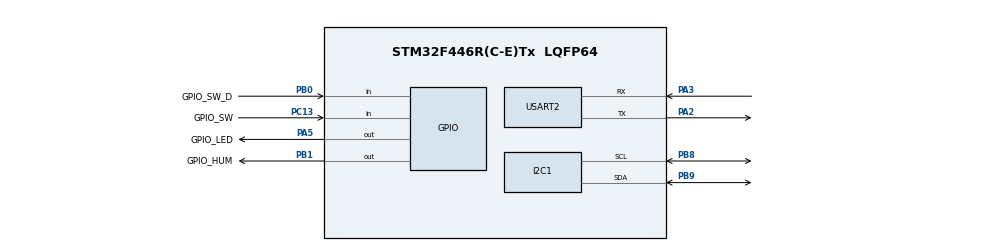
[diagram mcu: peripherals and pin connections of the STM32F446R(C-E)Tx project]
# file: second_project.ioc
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FREERTOS.Mutexes01=i2cMutex,Dynamic,NULL,Available
FREERTOS.Queues01=xQueueRH,1,uint32_t,0,Dynamic,NULL,NULL
FREERTOS.Tasks01=SensorUI,24,768,SensorUiTask,Default,NULL,Dynamic,NULL,NULL;Control,8,512,ControlTask,Default,NULL,Dynamic,NULL,NULL;Input,25,384,InputTask,Default,NULL,Dynamic,NULL,NULL
I2C1.I2C_Mode=I2C_Fast
Mcu.Family=STM32F4
Mcu.Name=STM32F446R(C-E)Tx
Mcu.Package=LQFP64
NVIC.PriorityGroup=NVIC_PRIORITYGROUP_4
NVIC.TIM1_UP_TIM10_IRQn=true\:15\:0\:false\:false\:true\:false\:false\:true\:true
NVIC.TimeBase=TIM1_UP_TIM10_IRQn
NVIC.TimeBaseIP=TIM1
PA13.Mode=Trace_Asynchronous_SW
PA13.Signal=SYS_JTMS-SWDIO
PA14.Mode=Trace_Asynchronous_SW
PA14.Signal=SYS_JTCK-SWCLK
PA2.Mode=Asynchronous
PA2.Signal=USART2_TX
PA3.Mode=Asynchronous
PA3.Signal=USART2_RX
PA5.GPIO_Label=GPIO_LED
PA5.Signal=GPIO_Output
PB0.GPIO_Label=GPIO_SW_D
PB0.GPIO_PuPd=GPIO_PULLUP
PB0.Signal=GPIO_Input
PB1.GPIO_Label=GPIO_HUM
PB1.Signal=GPIO_Output
PB3.Mode=Trace_Asynchronous_SW
PB3.Signal=SYS_JTDO-SWO
PB8.Mode=I2C
PB8.Signal=I2C1_SCL
PB9.Mode=I2C
PB9.Signal=I2C1_SDA
PC13.GPIO_Label=GPIO_SW
PC13.GPIO_PuPd=GPIO_PULLUP
PC13.Signal=GPIO_Input
ProjectManager.HeapSize=0x200
ProjectManager.StackSize=0x400
ProjectManager.TargetToolchain=STM32CubeIDE
RCC.CortexFreq_Value=16000000
RCC.USBFreq_Value=96000000
RCC.VCOOutputFreq_Value=192000000
USART2.VirtualMode=VM_ASYNC
VP_FREERTOS_VS_CMSIS_V2.Mode=CMSIS_V2
VP_SYS_VS_tim1.Mode=TIM1
board=custom

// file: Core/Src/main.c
/* USER CODE BEGIN Header */
/**
  ******************************************************************************
  * @file           : main.c
  * @brief          : Main program body
  ******************************************************************************
  * @attention
  *
  * Copyright (c) 2025 STMicroelectronics.
  * All rights reserved.
  *
  * This software is licensed under terms that can be found in the LICENSE file
  * in the root directory of this software component.
  * If no LICENSE file comes with this software, it is provided AS-IS.
  *
  ******************************************************************************
  */
/* USER CODE END Header */
#include "main.h"
#include "cmsis_os.h"

/* USER CODE BEGIN Includes */
#include "ssd1306.h"
#include "sht31d.h"
#include "fonts.h"
#include "stdio.h"
#include "bitmap.h"
#include "horse_anim.h"
/* USER CODE END Includes */

I2C_HandleTypeDef hi2c1;

UART_HandleTypeDef huart2;

/* Definitions for SensorUI */
osThreadId_t SensorUIHandle;
const osThreadAttr_t SensorUI_attributes = {
  .name = "SensorUI",
  .stack_size = 768 * 4,
  .priority = (osPriority_t) osPriorityNormal,
};
/* Definitions for Control */
osThreadId_t ControlHandle;
const osThreadAttr_t Control_attributes = {
  .name = "Control",
  .stack_size = 512 * 4,
  .priority = (osPriority_t) osPriorityLow,
};
/* Definitions for Input */
osThreadId_t InputHandle;
const osThreadAttr_t Input_attributes = {
  .name = "Input",
  .stack_size = 384 * 4,
  .priority = (osPriority_t) osPriorityNormal1,
};
/* Definitions for xQueueRH */
osMessageQueueId_t xQueueRHHandle;
const osMessageQueueAttr_t xQueueRH_attributes = {
  .name = "xQueueRH"
};
/* Definitions for i2cMutex */
osMutexId_t i2cMutexHandle;
const osMutexAttr_t i2cMutex_attributes = {
  .name = "i2cMutex"
};
/* USER CODE BEGIN PV */
int _write(int file, char *p, int len){
	HAL_UART_Transmit(&huart2, (uint8_t *)p, len, 10);
	return len;
}
/* USER CODE END PV */

void SystemClock_Config(void);
static void MX_GPIO_Init(void);
static void MX_USART2_UART_Init(void);
static void MX_I2C1_Init(void);
void SensorUiTask(void *argument);
void ControlTask(void *argument);
void InputTask(void *argument);

/* USER CODE BEGIN PFP */
// ------------ RTOS handles ---------------------
typedef struct { float temp; float hum; } rh_sample_t;

// ------------ Globals ---------------------
static volatile int   g_set_hum = 65;
static volatile int   g_hum_on  = 0;
static volatile float   last_hum = -1000.0f;
static const    float   g_hyst    = 3.0f;         // ±3%

/* USER CODE END PFP */

int main(void)
{

  /* MCU Configuration--------------------------------------------------------*/

  /* Reset of all peripherals, Initializes the Flash interface and the Systick. */
  HAL_Init();

  /* Configure the system clock */
  SystemClock_Config();

  /* Initialize all configured peripherals */
  MX_GPIO_Init();
  MX_USART2_UART_Init();
  MX_I2C1_Init();
  /* USER CODE BEGIN 2 */
  SSD1306_Init();
  /* USER CODE END 2 */

  /* Init scheduler */
  osKernelInitialize();
  /* Create the mutex(es) */
  /* creation of i2cMutex */
  i2cMutexHandle = osMutexNew(&i2cMutex_attributes);

  /* Create the queue(s) */
  /* creation of xQueueRH */
  xQueueRHHandle = osMessageQueueNew (2, sizeof(rh_sample_t), &xQueueRH_attributes);

  /* Create the thread(s) */
  /* creation of SensorUI */
  SensorUIHandle = osThreadNew(SensorUiTask, NULL, &SensorUI_attributes);

  /* creation of Control */
  ControlHandle = osThreadNew(ControlTask, NULL, &Control_attributes);

  /* creation of Input */
  InputHandle = osThreadNew(InputTask, NULL, &Input_attributes);

  /* Start scheduler */
  osKernelStart();

  /* We should never get here as control is now taken by the scheduler */

  /* Infinite loop */
  while (1)
  {

  }
}

void SystemClock_Config(void)
{
  RCC_OscInitTypeDef RCC_OscInitStruct = {0};
  RCC_ClkInitTypeDef RCC_ClkInitStruct = {0};

  /** Configure the main internal regulator output voltage
  */
  __HAL_RCC_PWR_CLK_ENABLE();
  __HAL_PWR_VOLTAGESCALING_CONFIG(PWR_REGULATOR_VOLTAGE_SCALE3);

  /** Initializes the RCC Oscillators according to the specified parameters
  * in the RCC_OscInitTypeDef structure.
  */
  RCC_OscInitStruct.OscillatorType = RCC_OSCILLATORTYPE_HSI;
  RCC_OscInitStruct.HSIState = RCC_HSI_ON;
  RCC_OscInitStruct.HSICalibrationValue = RCC_HSICALIBRATION_DEFAULT;
  RCC_OscInitStruct.PLL.PLLState = RCC_PLL_NONE;
  if (HAL_RCC_OscConfig(&RCC_OscInitStruct) != HAL_OK)
  {
    Error_Handler();
  }

  /** Initializes the CPU, AHB and APB buses clocks
  */
  RCC_ClkInitStruct.ClockType = RCC_CLOCKTYPE_HCLK|RCC_CLOCKTYPE_SYSCLK
                              |RCC_CLOCKTYPE_PCLK1|RCC_CLOCKTYPE_PCLK2;
  RCC_ClkInitStruct.SYSCLKSource = RCC_SYSCLKSOURCE_HSI;
  RCC_ClkInitStruct.AHBCLKDivider = RCC_SYSCLK_DIV1;
  RCC_ClkInitStruct.APB1CLKDivider = RCC_HCLK_DIV1;
  RCC_ClkInitStruct.APB2CLKDivider = RCC_HCLK_DIV1;

  if (HAL_RCC_ClockConfig(&RCC_ClkInitStruct, FLASH_LATENCY_0) != HAL_OK)
  {
    Error_Handler();
  }
}

static void MX_I2C1_Init(void)
{

  hi2c1.Instance = I2C1;
  hi2c1.Init.ClockSpeed = 400000;
  hi2c1.Init.DutyCycle = I2C_DUTYCYCLE_2;
  hi2c1.Init.OwnAddress1 = 0;
  hi2c1.Init.AddressingMode = I2C_ADDRESSINGMODE_7BIT;
  hi2c1.Init.DualAddressMode = I2C_DUALADDRESS_DISABLE;
  hi2c1.Init.OwnAddress2 = 0;
  hi2c1.Init.GeneralCallMode = I2C_GENERALCALL_DISABLE;
  hi2c1.Init.NoStretchMode = I2C_NOSTRETCH_DISABLE;
  if (HAL_I2C_Init(&hi2c1) != HAL_OK)
  {
    Error_Handler();
  }

}

static void MX_USART2_UART_Init(void)
{

  huart2.Instance = USART2;
  huart2.Init.BaudRate = 115200;
  huart2.Init.WordLength = UART_WORDLENGTH_8B;
  huart2.Init.StopBits = UART_STOPBITS_1;
  huart2.Init.Parity = UART_PARITY_NONE;
  huart2.Init.Mode = UART_MODE_TX_RX;
  huart2.Init.HwFlowCtl = UART_HWCONTROL_NONE;
  huart2.Init.OverSampling = UART_OVERSAMPLING_16;
  if (HAL_UART_Init(&huart2) != HAL_OK)
  {
    Error_Handler();
  }

}

static void MX_GPIO_Init(void)
{
  GPIO_InitTypeDef GPIO_InitStruct = {0};

  /* GPIO Ports Clock Enable */
  __HAL_RCC_GPIOC_CLK_ENABLE();
  __HAL_RCC_GPIOA_CLK_ENABLE();
  __HAL_RCC_GPIOB_CLK_ENABLE();

  /*Configure GPIO pin Output Level */
  HAL_GPIO_WritePin(GPIO_LED_GPIO_Port, GPIO_LED_Pin, GPIO_PIN_RESET);

  /*Configure GPIO pin Output Level */
  HAL_GPIO_WritePin(GPIO_HUM_GPIO_Port, GPIO_HUM_Pin, GPIO_PIN_RESET);

  /*Configure GPIO pin : GPIO_SW_Pin */
  GPIO_InitStruct.Pin = GPIO_SW_Pin;
  GPIO_InitStruct.Mode = GPIO_MODE_INPUT;
  GPIO_InitStruct.Pull = GPIO_PULLUP;
  HAL_GPIO_Init(GPIO_SW_GPIO_Port, &GPIO_InitStruct);

  /*Configure GPIO pin : GPIO_LED_Pin */
  GPIO_InitStruct.Pin = GPIO_LED_Pin;
  GPIO_InitStruct.Mode = GPIO_MODE_OUTPUT_PP;
  GPIO_InitStruct.Pull = GPIO_NOPULL;
  GPIO_InitStruct.Speed = GPIO_SPEED_FREQ_LOW;
  HAL_GPIO_Init(GPIO_LED_GPIO_Port, &GPIO_InitStruct);

  /*Configure GPIO pin : GPIO_SW_D_Pin */
  GPIO_InitStruct.Pin = GPIO_SW_D_Pin;
  GPIO_InitStruct.Mode = GPIO_MODE_INPUT;
  GPIO_InitStruct.Pull = GPIO_PULLUP;
  HAL_GPIO_Init(GPIO_SW_D_GPIO_Port, &GPIO_InitStruct);

  /*Configure GPIO pin : GPIO_HUM_Pin */
  GPIO_InitStruct.Pin = GPIO_HUM_Pin;
  GPIO_InitStruct.Mode = GPIO_MODE_OUTPUT_PP;
  GPIO_InitStruct.Pull = GPIO_NOPULL;
  GPIO_InitStruct.Speed = GPIO_SPEED_FREQ_LOW;
  HAL_GPIO_Init(GPIO_HUM_GPIO_Port, &GPIO_InitStruct);

}

void SensorUiTask(void *argument)
{
  /* USER CODE BEGIN 5 */
	char line[24];
	rh_sample_t sample;
  /* Infinite loop */
  for(;;)
  {
	  if(osMutexAcquire(i2cMutexHandle, osWaitForever) == osOK) {
		  if (SHT31_ReadTempHum(&sample.temp, &sample.hum) == 0) {
			last_hum = sample.hum;
			SSD1306_Clear();
			snprintf(line, sizeof(line), "Set: %d%%", g_set_hum);
			SSD1306_GotoXY(0, 0);  SSD1306_Puts(line, &Font_11x18, 1);

			snprintf(line, sizeof(line), "Cur: %.1f%%", last_hum);
			SSD1306_GotoXY(0, 22); SSD1306_Puts(line, &Font_11x18, 1);
			SSD1306_UpdateScreen();
			osMutexRelease(i2cMutexHandle);
			osMessageQueuePut(xQueueRHHandle, &sample, 0, 0); // keep the latest
			osDelay(2000);
		  } else {
			  osMutexRelease(i2cMutexHandle);
		  }
	  }
  }
  /* USER CODE END 5 */
}

void ControlTask(void *argument)
{
  /* USER CODE BEGIN ControlTask */
	rh_sample_t sample;
  /* Infinite loop */
  for(;;)
  {
	  if (osMessageQueueGet(xQueueRHHandle, &sample, NULL, osWaitForever) == osOK) {
		// Hysteresis controller
		if (g_hum_on && sample.hum > (g_set_hum + g_hyst)) {
			HAL_GPIO_WritePin(GPIO_HUM_GPIO_Port, GPIO_HUM_Pin, GPIO_PIN_SET);
			osDelay(3000);   // OFF long press
			HAL_GPIO_WritePin(GPIO_HUM_GPIO_Port, GPIO_HUM_Pin, GPIO_PIN_RESET);
			g_hum_on = 0;
		} else if (!g_hum_on && sample.hum < (g_set_hum - g_hyst)) {
			HAL_GPIO_WritePin(GPIO_HUM_GPIO_Port, GPIO_HUM_Pin, GPIO_PIN_SET);
			osDelay(1000);   // ON short press
			HAL_GPIO_WritePin(GPIO_HUM_GPIO_Port, GPIO_HUM_Pin, GPIO_PIN_RESET);
			g_hum_on = 1;
		}
	}
  }
  /* USER CODE END ControlTask */
}

void InputTask(void *argument)
{
  /* USER CODE BEGIN InputTask */
	char line[24];
  /* Infinite loop */
  for(;;)
  {
		// increment logic (target humidity)
		if (!HAL_GPIO_ReadPin(GPIO_SW_GPIO_Port, GPIO_SW_Pin)) {
			if(osMutexAcquire(i2cMutexHandle, osWaitForever) == osOK) {
				g_set_hum++;
				SSD1306_Clear();
				snprintf(line, sizeof(line), "Set: %d%%", g_set_hum);
				SSD1306_GotoXY(0, 0);  SSD1306_Puts(line, &Font_11x18, 1);
				snprintf(line, sizeof(line), "Cur: %.1f%%", last_hum);
				SSD1306_GotoXY(0, 22); SSD1306_Puts(line, &Font_11x18, 1);
				SSD1306_UpdateScreen();
				osMutexRelease(i2cMutexHandle);
				osDelay(100);
			}
		}
		// decrease logic (target humidity)
		if (!HAL_GPIO_ReadPin(GPIO_SW_D_GPIO_Port, GPIO_SW_D_Pin)) {
			if(osMutexAcquire(i2cMutexHandle, osWaitForever) == osOK) {
				g_set_hum--;
				SSD1306_Clear();
				snprintf(line, sizeof(line), "Set: %d%%", g_set_hum);
				SSD1306_GotoXY(0, 0);  SSD1306_Puts(line, &Font_11x18, 1);
				snprintf(line, sizeof(line), "Cur: %.1f%%", last_hum);
				SSD1306_GotoXY(0, 22); SSD1306_Puts(line, &Font_11x18, 1);
				SSD1306_UpdateScreen();
				osMutexRelease(i2cMutexHandle);
				osDelay(100);
			}
		}
		osDelay(100); // let other tasks run
  }
  /* USER CODE END InputTask */
}

void HAL_TIM_PeriodElapsedCallback(TIM_HandleTypeDef *htim)
{
  if (htim->Instance == TIM1)
  {
    HAL_IncTick();
  }
}

void Error_Handler(void)
{
  __disable_irq();
  while (1)
  {
  }
}
